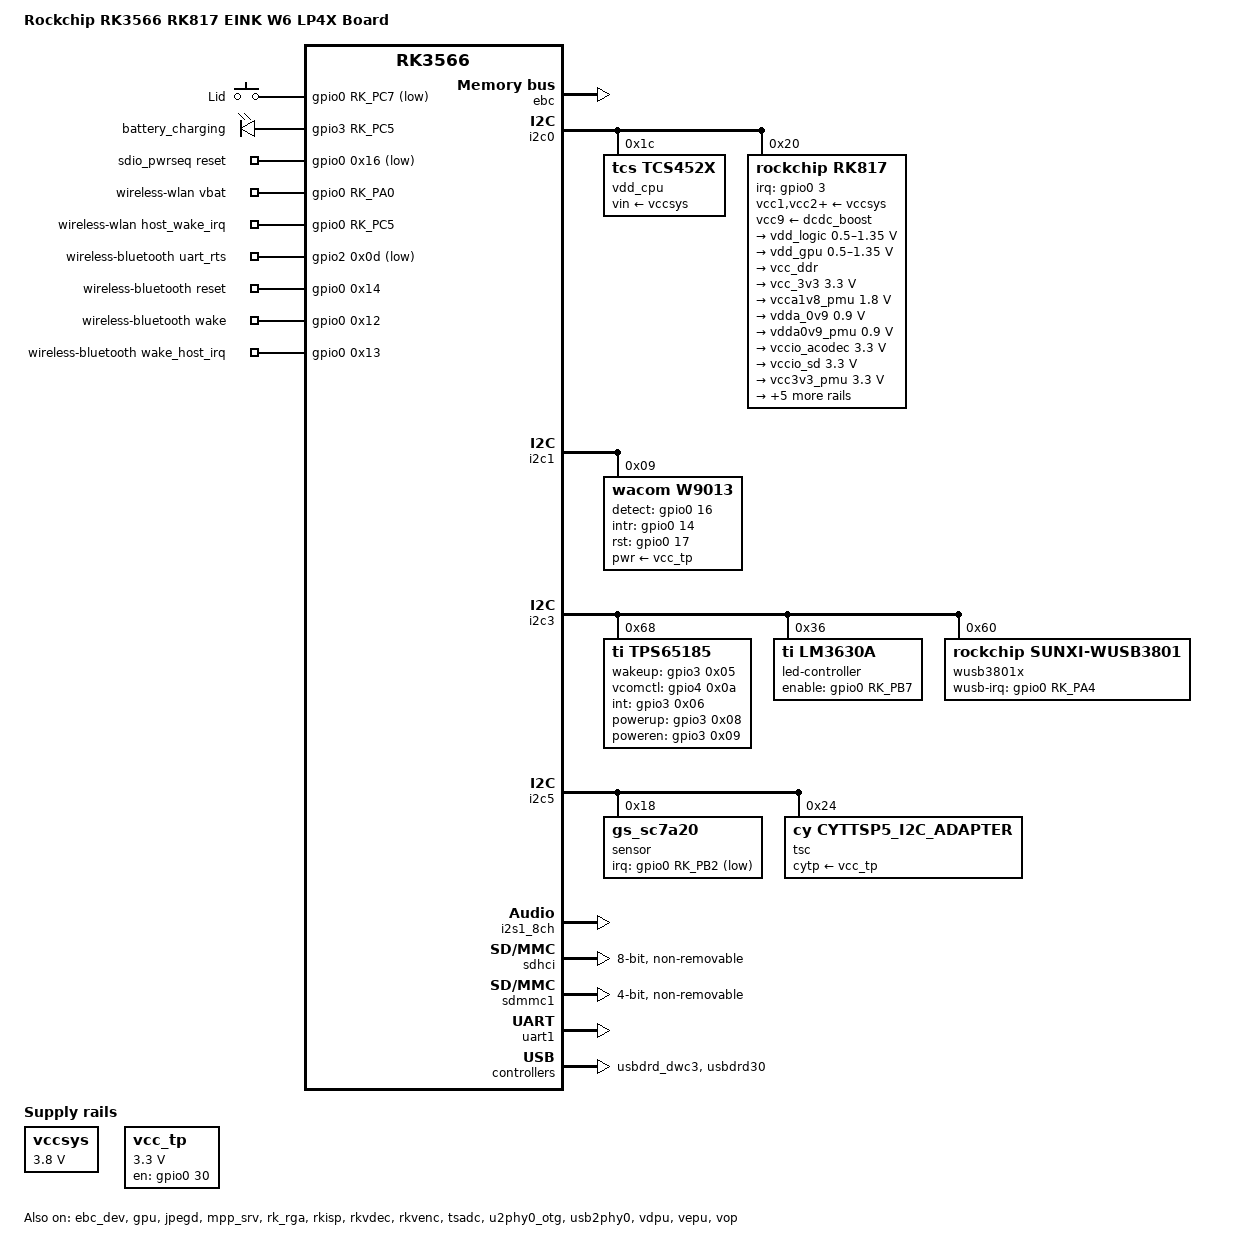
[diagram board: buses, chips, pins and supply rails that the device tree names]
// SPDX-License-Identifier: (GPL-2.0+ OR MIT)
/*
 * Copyright (c) 2021 Rockchip Electronics Co., Ltd.
 *
 */

/dts-v1/;

#include <dt-bindings/gpio/gpio.h>
#include <dt-bindings/pinctrl/rockchip.h>
#include <dt-bindings/input/rk-input.h>
#include <dt-bindings/sensor-dev.h>
#include <dt-bindings/display/drm_mipi_dsi.h>
#include "rk3566.dtsi"
#include "rk3568-android.dtsi"
#include "rk3566-eink.dtsi"

/ {
	model = "Rockchip RK3566 RK817 EINK W6 LP4X Board";
	compatible = "rockchip,rk3566-rk817-eink-W6", "rockchip,rk3566";

	// chosen {
	// 	bootargs = "";
	// };
	charge-animation {
		compatible = "rockchip,uboot-charge";
		rockchip,uboot-charge-on = <1>;
		rockchip,android-charge-on = <0>;
		rockchip,uboot-low-power-voltage = <3350>;
		rockchip,screen-on-voltage = <3400>;
		rockchip,auto-wakeup-interval = <60>;
		status = "okay";
	};

	adc_keys: adc-keys {
		status = "disabled";
		compatible = "adc-keys";
		io-channels = <&saradc 0>;
		io-channel-names = "buttons";
		keyup-threshold-microvolt = <1800000>;
		poll-interval = <100>;

		vol-up-key {
			label = "volume up";
			linux,code = <KEY_VOLUMEUP>;
			press-threshold-microvolt = <1750>;
		};
	};


	gpio_keys: gpio-keys {
		status = "ok";
		compatible = "gpio-keys";

		// 	power {
		// 	label = "Power";
		// 	gpios = <&gpio0 RK_PC7 GPIO_ACTIVE_LOW>; /* 1Hall sensor */
		// 	linux,code = <116>; /* KEY_POWER */
		// 	gpio-key,wakeup;
		// };

		lid-switch {
			label = "Lid";
			gpios = <&gpio0 RK_PC7 GPIO_ACTIVE_LOW>; /* 1Hall sensor */
			linux,input-type = <5>; /* EV_SW */
			linux,code = <0>; /* SW_LID */
			debounce-interval = <1>;
			gpio-key,wakeup;
		};
	};

	leds: gpio-leds {
		compatible = "gpio-leds";
		pinctrl-names = "default";
		pinctrl-0 =<&leds_gpio>;

		led@1 {
			gpios = <&gpio3 RK_PC5 GPIO_ACTIVE_HIGH>;
			linux,default-trigger = "battery-charging";
			label = "battery_charging";
			retain-state-suspended;
		};
	};

	vccsys: vccsys {
		compatible = "regulator-fixed";
		regulator-name = "vcc3v8_sys";
		regulator-always-on;
		regulator-boot-on;
		regulator-min-microvolt = <3800000>;
		regulator-max-microvolt = <3800000>;
	};


	vcc_tp: vcc-tp-regulator {
		compatible = "regulator-fixed";
		enable-active-high;
		gpio = <&gpio0 30 GPIO_ACTIVE_HIGH>;
		pinctrl-names = "default";
		pinctrl-0 = <&vcc_tp_en>;
		regulator-name = "vcc_tp";
		regulator-min-microvolt = <3300000>;
		regulator-max-microvolt = <3300000>;
	};


	rk817-sound {
		compatible = "simple-audio-card";
		simple-audio-card,format = "i2s";
		simple-audio-card,name = "rockchip,rk817-codec";
		simple-audio-card,mclk-fs = <256>;

		simple-audio-card,cpu {
			sound-dai = <&i2s1_8ch>;
		};
		simple-audio-card,codec {
			sound-dai = <&rk817_codec>;
		};
	};

	sdio_pwrseq: sdio-pwrseq {
		compatible = "mmc-pwrseq-simple";
		clocks = <&rk817 1>;
		clock-names = "ext_clock";
		pinctrl-names = "default";
		pinctrl-0 = <&wifi_enable_h>;
		post-power-on-delay-ms = <200>;
		/*
		 * On the module itself this is one of these (depending
		 * on the actual card populated):
		 * - SDIO_RESET_L_WL_REG_ON
		 * - PDN (power down when low)
		 */
		reset-gpios = <&gpio0 0x16 1>;
	};

	wireless-wlan {
		compatible = "wlan-platdata";
		rockchip,grf = <&grf>;
		wifi_chip_type = "ap6255";
		pinctrl-names = "default";
		pinctrl-0 = <&wifi_vbat &wifi_host_wake_irq>;
		WIFI,vbat_gpio = <&gpio0 RK_PA0 0>;
		WIFI,host_wake_irq = <&gpio0 RK_PC5 0>;
		status = "okay";
	};

	wireless-bluetooth {
		compatible = "bluetooth-platdata";
		clocks = <&rk817 1>;
		clock-names = "ext_clock";
		wifi-bt-power-toggle;
		uart_rts_gpios = <&gpio2 0x0d 0x01>;
		pinctrl-names = "default", "rts_gpio";
		pinctrl-0 = <&uart1m0_rtsn>;
		pinctrl-1 = <&uart1_gpios>;
		BT,reset_gpio    = <&gpio0 0x14 0x00>;
		BT,wake_gpio     = <&gpio0 0x12 0x00>;
		BT,wake_host_irq = <&gpio0 0x13 0x00>;
		status = "okay";
	};
};

&ebc {
	/* clock rate 1000M/n, (n=1~32) */
	clocks = <&cru HCLK_EBC>, <&cru DCLK_EBC>;
	clock-names = "hclk", "dclk";
	power-domains = <&power RK3568_PD_RGA>;
	assigned-clocks = <&cru 0x09 &cru 0xfa>;
	assigned-clock-rates = <250000000 250000000>;
	status = "okay";
};

&ebc_dev {
	pmic = <&tps65185>;
	status = "okay";

	panel,width = <1872>;
	panel,height = <1404>;
	panel,vir_width = <1872>;
	panel,vir_height = <1404>;
	panel,sdck = <33300000>;
	panel,lsl = <11>;
	panel,lbl = <8>;
	panel,ldl = <234>;
	panel,lel = <23>;
	panel,gdck-sta = <10>;
	panel,lgonl = <215>;
	panel,fsl = <1>;
	panel,fbl = <4>;
	panel,fdl = <1404>;
	panel,fel = <12>;
	panel,mirror = <1>;
	panel,panel_16bit = <1>;
	panel,panel_color = <0>;
	panel,width-mm = <157>;
	panel,height-mm = <210>;
};

&cpu0 {
	cpu-supply = <&vdd_cpu>;
};

&gpu {
	mali-supply = <&vdd_gpu>;
	status = "okay";
};


&i2c0 {
	status = "okay";

	vdd_cpu: tcs4525@1c {
		compatible = "tcs,tcs452x";
		reg = <0x1c>;
		vin-supply = <&vccsys>;
		regulator-compatible = "fan53555-reg";
		regulator-name = "vdd_cpu";
		regulator-min-microvolt = <712500>;
		regulator-max-microvolt = <1390000>;
		regulator-ramp-delay = <2300>;
		fcs,suspend-voltage-selector = <0>;
		regulator-boot-on;
		regulator-always-on;
		regulator-initial-mode = <2>;
		regulator-state-mem {
			regulator-on-in-suspend;
			regulator-suspend-microvolt = <1100000>;
			regulator-changeable-in-suspend;
		};
	};

	rk817: pmic@20 {
		compatible = "rockchip,rk817";
		reg = <0x20>;
		interrupt-parent = <&gpio0>;
		interrupts = <3 IRQ_TYPE_LEVEL_LOW>;
		pinctrl-names = "default";
		pinctrl-0 = <&pmic_int>;
		rockchip,system-power-controller;
		wakeup-source;
		#clock-cells = <1>;
		clock-output-names = "rk808-clkout1", "rk808-clkout2";
		/* 1: rst regs (default in codes), 0: rst the pmic */
		pmic-reset-func = <0>;
		/* not save the PMIC_POWER_EN register in uboot */
		not-save-power-en = <1>;
		vcc1-supply = <&vccsys>;
		vcc2-supply = <&vccsys>;
		vcc3-supply = <&vccsys>;
		vcc4-supply = <&vccsys>;
		vcc5-supply = <&vccsys>;
		vcc6-supply = <&vccsys>;
		vcc7-supply = <&vccsys>;
		vcc8-supply = <&vccsys>;
		vcc9-supply = <&dcdc_boost>;

		pwrkey {
			status = "okay";
		};

		pinctrl_rk8xx: pinctrl_rk8xx {
			gpio-controller;
			#gpio-cells = <2>;

			rk817_slppin_null: rk817_slppin_null {
				pins = "gpio_slp";
				function = "pin_fun0";
			};

			rk817_slppin_slp: rk817_slppin_slp {
				pins = "gpio_slp";
				function = "pin_fun1";
			};

			rk817_slppin_pwrdn: rk817_slppin_pwrdn {
				pins = "gpio_slp";
				function = "pin_fun2";
			};

			rk817_slppin_rst: rk817_slppin_rst {
				pins = "gpio_slp";
				function = "pin_fun3";
			};
		};

		regulators {
			vdd_logic: DCDC_REG1 {
				regulator-always-on;
				regulator-boot-on;
				regulator-min-microvolt = <500000>;
				regulator-max-microvolt = <1350000>;
				regulator-init-microvolt = <900000>;
				regulator-ramp-delay = <6001>;
				regulator-initial-mode = <2>;
				regulator-name = "vdd_logic";
				regulator-state-mem {
					regulator-off-in-suspend;
					regulator-suspend-microvolt = <900000>;
					regulator-changeable-in-suspend;
				};
			};

			vdd_gpu: DCDC_REG2 {
				regulator-always-on;
				regulator-boot-on;
				regulator-min-microvolt = <500000>;
				regulator-max-microvolt = <1350000>;
				regulator-init-microvolt = <900000>;
				regulator-ramp-delay = <6001>;
				regulator-initial-mode = <2>;
				regulator-name = "vdd_gpu";
					regulator-state-mem {
					regulator-off-in-suspend;
					regulator-changeable-in-suspend;
				};
			};

			vcc_ddr: DCDC_REG3 {
				regulator-always-on;
				regulator-boot-on;
				regulator-initial-mode = <2>;
				regulator-name = "vcc_ddr";
				regulator-state-mem {
					regulator-on-in-suspend;
				};
			};

			vcc_3v3: DCDC_REG4 {
				regulator-always-on;
				regulator-boot-on;
				regulator-min-microvolt = <3300000>;
				regulator-max-microvolt = <3300000>;
				regulator-initial-mode = <2>;
				regulator-name = "vcc_3v3";
				regulator-state-mem {
					regulator-off-in-suspend;
					regulator-changeable-in-suspend;
				};
			};

			vcca1v8_pmu: LDO_REG1 {
				regulator-always-on;
				regulator-boot-on;
				regulator-min-microvolt = <1800000>;
				regulator-max-microvolt = <1800000>;
				regulator-name = "vcca1v8_pmu";
				regulator-state-mem {
					regulator-on-in-suspend;
					regulator-suspend-microvolt = <1800000>;
					regulator-changeable-in-suspend;
				};
			};

			vdda_0v9: LDO_REG2 {
				regulator-always-on;
				regulator-boot-on;
				regulator-min-microvolt = <900000>;
				regulator-max-microvolt = <900000>;
				regulator-name = "vdda_0v9";
				regulator-state-mem {
					regulator-off-in-suspend;
					regulator-changeable-in-suspend;
				};
			};

			vdda0v9_pmu: LDO_REG3 {
				regulator-always-on;
				regulator-boot-on;
				regulator-min-microvolt = <900000>;
				regulator-max-microvolt = <900000>;
				regulator-name = "vdda0v9_pmu";
				regulator-state-mem {
					regulator-on-in-suspend;
					regulator-suspend-microvolt = <900000>;
					regulator-changeable-in-suspend;
				};
			};

			vccio_acodec: LDO_REG4 {
				regulator-always-on;
				regulator-boot-on;
				regulator-min-microvolt = <3300000>;
				regulator-max-microvolt = <3300000>;
				regulator-name = "vccio_acodec";
				regulator-state-mem {
					regulator-off-in-suspend;
					regulator-changeable-in-suspend;
				};
			};

			vccio_sd: LDO_REG5 {
				regulator-min-microvolt = <3300000>;//was 1.8v
				regulator-max-microvolt = <3300000>;
				regulator-name = "vccio_sd";
				regulator-state-mem {
					regulator-off-in-suspend;
					regulator-changeable-in-suspend;
				};
			};

			vcc3v3_pmu: LDO_REG6 {
				regulator-always-on;
				regulator-boot-on;
				regulator-min-microvolt = <3300000>;
				regulator-max-microvolt = <3300000>;
				regulator-name = "vcc3v3_pmu";
				regulator-state-mem {
					regulator-on-in-suspend;
					regulator-suspend-microvolt = <3000000>;
					regulator-changeable-in-suspend;
				};
			};

			vcc_1v8: LDO_REG7 {
				regulator-always-on;
				regulator-boot-on;
				regulator-min-microvolt = <1800000>;
				regulator-max-microvolt = <1800000>;
				regulator-name = "vcc_1v8";
				regulator-state-mem {
					regulator-off-in-suspend;
					regulator-changeable-in-suspend;
				};
			};

			vcc1v8_dvp: LDO_REG8 {
				regulator-min-microvolt = <1800000>;
				regulator-max-microvolt = <1800000>;
				regulator-name = "vcc1v8_dvp";
				regulator-state-mem {
					regulator-off-in-suspend;
					regulator-changeable-in-suspend;
				};
			};

			sleep_sta_ctl: LDO_REG9 {
				regulator-name = "sleep_sta_ctl";
				regulator-state-mem {
					regulator-on-in-suspend;
					regulator-suspend-microvolt = <3300000>;
					regulator-changeable-in-suspend;
				};
			};

			dcdc_boost: BOOST {
				regulator-always-on;
				regulator-boot-on;
				regulator-min-microvolt = <4700000>;
				regulator-max-microvolt = <5400000>;
				regulator-name = "boost";
				regulator-state-mem {
					regulator-off-in-suspend;
					regulator-changeable-in-suspend;
				};
			};

			otg_switch: OTG_SWITCH {
				regulator-name = "otg_switch";
				regulator-state-mem {
					regulator-off-in-suspend;
					regulator-changeable-in-suspend;
				};
			};
		};

		battery {
			compatible = "rk817,battery";
			ocv_table = <3500 
				3670 
				3680 
				3710 3732 3750 3763 3770 3777 3789 3804
				 3826 3866 3897 3924 3954 3985 4023 4066 4109 4168>;
			design_capacity = <4000>;
			design_qmax = <4400>;
			bat_res = <96>;
			sleep_enter_current = <150>;
			sleep_exit_current = <180>;
			sleep_filter_current = <100>;
			power_off_thresd = <3450>;
			zero_algorithm_vol = <3850>;
			max_soc_offset = <60>;
			monitor_sec = <5>;
			sample_res = <10>;
			virtual_power = <0>;
			low_power_sleep = <1>;
		};

		charger {
			compatible = "rk817,charger";
			min_input_voltage = <4500>;
			max_input_current = <1500>;
			max_chrg_current = <2000>;
			max_chrg_voltage = <4170>;
			chrg_term_mode = <0>;
			chrg_finish_cur = <300>;
			virtual_power = <0>;
			dc_det_adc = <0>;
			extcon = <&usb2phy0>;
			gate_function_disable = <1>;
		};

		rk817_codec: codec {
			#sound-dai-cells = <0>;
			compatible = "rockchip,rk817-codec";
			clocks = <&cru I2S1_MCLKOUT_TX>;
			clock-names = "mclk";
			assigned-clocks = <&cru I2S1_MCLKOUT_TX>;
			assigned-clock-parents = <&cru CLK_I2S1_8CH_TX>;
			pinctrl-names = "default";
			pinctrl-0 = <&i2s1m0_mclk>;
			hp-volume = <20>;
			spk-volume = <3>;
			out-l2spk-r2hp;
			spk-ctl-gpios = <&gpio3 RK_PC4 GPIO_ACTIVE_HIGH>;
			status = "okay";
		};
	};
};

&i2c1 {
	status = "okay";

	
	wacom@9 {
		compatible = "wacom,w9013";
		reg = <0x09>;
		pwr-supply = <&vcc_tp>;
		pinctrl-names = "default";
		pinctrl-0 = <&wacom_gpio>;
		gpio_detect = <&gpio0 16 0x00>;
		gpio_intr = <&gpio0 14 0x00>;
		gpio_rst = <&gpio0 17 0x00>;
		revert_x = <1>;
		revert_y = <1>;
		xy_exchange = <0>;
	};
};

&i2c3 {
	status = "okay";
	pinctrl-names = "default";
	pinctrl-0 = <&i2c3m1_xfer>;

		tps65185:tps65185@68 {
			status = "okay";
			compatible = "ti,tps65185";
			reg = <0x68>;
			pinctrl-names = "default";
			pinctrl-0 =		 <&tps65185_gpio>;
			wakeup-gpios =		 <&gpio3 0x05 0x00>;
			vcomctl-gpios =		 <&gpio4 0x0a 0x00>;
			int-gpios =		 <&gpio3 0x06 0x00>;
			powerup-gpios =		 <&gpio3 0x08 0x00>;
			poweren-gpios =		 <&gpio3 0x09 0x00>;
		};

		led-controller@36 {
			compatible = "ti,lm3630a";
			reg = <0x36>;			
			enable-gpios = <&gpio0 RK_PB7 GPIO_ACTIVE_HIGH>;

			#address-cells = <1>;
			#size-cells = <0>;

			led@0 {
				reg = <0>;
				led-sources = <0>;
				label = "backlight_cold";
				ti,linear-mapping-mode = <1>;
				default-brightness = <0>;
				max-brightness = <255>;

			};
			led_warm:pwm@1 {
				reg = <1>;
				led-sources = <1>;
				label = "backlight";
				ti,linear-mapping-mode = <1>;

				default-brightness = <64>;
				max-brightness = <255>;
			};
		};

		wusb3801x@60 {
			compatible = "rockchip,sunxi-wusb3801";
			reg = <0x60>;
			pinctrl-names = "default";
			pinctrl-0 = <&wusb3801x_gpio>;
			wusb-irq-gpio = <&gpio0 RK_PA4 0x00>;
			init-mode = <36>;
			host-current = <1>;
			drp-toggle-time = <40>;
		};

};

&i2c5 {
	status = "okay";

	
		sensor@18 {
			status = "okay";
			compatible = "gs_sc7a20";
			reg = <0x18>;
			irq-gpio = <&gpio0 RK_PB2 0x03>;
			type = <2>;
			irq_enable = <0>;
			poll_delay_ms = <30>;
			layout = <3>;
			reprobe_en = <1>;
		};

		tsc@24 {
			status = "okay";
			compatible = "cy,cyttsp5_i2c_adapter";
			reg = <0x24>;
			cy,adapter_id = "cyttsp5_i2c_adapter";
			pinctrl-names = "default";
			pinctrl-0 = <&tsc_gpio>;
			cytp-supply = <&vcc_tp>;

			cy,core {
				cy,name = "cyttsp5_core";
				cy,irq_gpio = <&gpio0 RK_PA6 0x00>;
				cy,rst_gpio = <&gpio0 RK_PA5 0x00>;
				cy,hid_desc_register = <1>;
			/* CY_CORE_FLAG_RESTORE_PARAMETERS */
			cy,flags = <6>;
			/* CY_CORE_EWG_NONE */
			cy,easy_wakeup_gesture = <0>;
			cy,btn_keys = <172 /* KEY_HOMEPAGE */
						/* previously was KEY_HOME, new Android versions use KEY_HOMEPAGE */
						139 /* KEY_MENU */
						158 /* KEY_BACK */
						217 /* KEY_SEARCH */
						114 /* KEY_VOLUMEDOWN */
						115 /* KEY_VOLUMEUP */
						212 /* KEY_CAMERA */
						116>; /* KEY_POWER */
			cy,btn_keys-tag = <0>;
			cy,mt {
				cy,name = "cyttsp5_mt";
				cy,inp_dev_name = "cyttsp5_mt";
				cy,flags = <0>;
				cy,abs =
					/* ABS_MT_POSITION_X, CY_ABS_MIN_X, CY_ABS_MAX_X, 0, 0 */
					<0x35 0 1872 0 0
					/* ABS_MT_POSITION_Y, CY_ABS_MIN_Y, CY_ABS_MAX_Y, 0, 0 */
					0x36 0 1404 0 0
					/* ABS_MT_PRESSURE, CY_ABS_MIN_P, CY_ABS_MAX_P, 0, 0 */
					0x3a 0 255 0 0
					/* CY_IGNORE_VALUE, CY_ABS_MIN_W, CY_ABS_MAX_W, 0, 0 */
					0xffff 0 255 0 0
					/* ABS_MT_TRACKING_ID, CY_ABS_MIN_T, CY_ABS_MAX_T, 0, 0 */
					0x39 0 15 0 0
					/* ABS_MT_TOUCH_MAJOR, 0, 255, 0, 0 */
					0x30 0 255 0 0
					/* ABS_MT_TOUCH_MINOR, 0, 255, 0, 0 */
					0x31 0 255 0 0
					/* ABS_MT_ORIENTATION, -127, 127, 0, 0 */
					0x34 0xffffff81 127 0 0
					/* ABS_MT_TOOL_TYPE, 0, MT_TOOL_MAX, 0, 0 */
					0x37 0 1 0 0
					/* ABS_DISTANCE, 0, 255, 0, 0 */
					0x19 0 255 0 0>;

					cy,vkeys_x = <1872>;
					cy,vkeys_y = <1404>;

					cy,revert_x = <0>;
					cy,revert_y = <0>;
					cy,xy_exchange = <0>;

					cy,virtual_keys = /* KeyCode CenterX CenterY Width Height */
						/* KEY_BACK */
						<158 1360 90 160 180
						/* KEY_MENU */
						139 1360 270 160 180
						/* KEY_HOMEPAGE */
						172 1360 450 160 180
						/* KEY SEARCH */
						217 1360 630 160 180>;
			};

				cy,btn {
					cy,name = "cyttsp5_btn";
					cy,inp_dev_name = "cyttsp5_btn";
				};

				cy,proximity {
					cy,name = "cyttsp5_proximity";
					cy,inp_dev_name = "cyttsp5_proximity";
					cy,abs = <0x19 0x00 0x01 0x00 0x00>;
				};
			};
		};

};

&i2s0_8ch {
	status = "disabled";
};

&i2s1_8ch {
	status = "okay";
	rockchip,clk-trcm = <1>;
	pinctrl-names = "default";
	pinctrl-0 = <&i2s1m0_sclktx
		     &i2s1m0_lrcktx
		     &i2s1m0_sdi0
		     &i2s1m0_sdo0>;
};

&i2s2_2ch {
	status = "disabled";
};
&jpegd {
	status = "okay";
};

&jpegd_mmu {
	status = "okay";
};

&video_phy0 {
	status = "disabled";
};

&mpp_srv {
	status = "okay";
};

&nandc0 {
	status = "disabled";
};

&pinctrl {
	leds {
		leds_gpio: leds-gpio {
			rockchip,pins =
				<3 21 RK_FUNC_GPIO &pcfg_pull_none>;
		};
	};
	
	

	tps_pmic {
		tps65185_gpio: tps65185-gpio {
			rockchip,pins = <
			    RK_GPIO3 RK_PA4 RK_FUNC_GPIO &pcfg_pull_up
				RK_GPIO3 RK_PA5 RK_FUNC_GPIO &pcfg_pull_up
				RK_GPIO3 RK_PA6 RK_FUNC_GPIO &pcfg_pull_up 
				RK_GPIO3 RK_PB0 RK_FUNC_GPIO &pcfg_pull_up
				RK_GPIO3 RK_PB1 RK_FUNC_GPIO &pcfg_pull_up>;
		};
	};
	

	pmic {
		pmic_int: pmic_int {
			rockchip,pins =
				<RK_GPIO0 RK_PA3 RK_FUNC_GPIO &pcfg_pull_up>;
		};

		soc_slppin_gpio: soc_slppin_gpio {
			rockchip,pins =
				<RK_GPIO0 RK_PA2 RK_FUNC_GPIO &pcfg_output_low>;
		};

		soc_slppin_slp: soc_slppin_slp {
			rockchip,pins =
				<RK_GPIO0 RK_PA2 RK_FUNC_1 &pcfg_pull_none>;
		};

		soc_slppin_rst: soc_slppin_rst {
			rockchip,pins =
				<RK_GPIO0 RK_PA2 RK_FUNC_2 &pcfg_pull_none>;
		};
	};

	sdio-pwrseq {
		wifi_enable_h: wifi-enable-h {
			rockchip,pins = <RK_GPIO0 RK_PC6 RK_FUNC_GPIO &pcfg_pull_none>;
		};
	};

	vcc-tp {
		vcc_tp_en: vcc-tp-en {
			rockchip,pins = <RK_GPIO0 RK_PD6 RK_FUNC_GPIO &pcfg_pull_none>;
		};
	};

	wireless-wlan {
		wifi_vbat: wifi-vbat {
			rockchip,pins = <RK_GPIO0 RK_PA0 RK_FUNC_GPIO &pcfg_pull_none>;
		};

		wifi_host_wake_irq: wifi-host-wake-irq {
			rockchip,pins = <RK_GPIO0 RK_PC5 RK_FUNC_GPIO &pcfg_pull_up>;
		};
	};

	wireless-bluetooth {
		uart1_gpios: uart1-gpios {
			rockchip,pins = <RK_GPIO2 RK_PB5 RK_FUNC_GPIO &pcfg_pull_none>;
		};

		bt_reset_gpio:bt-reset-gpio {
			rockchip,pins = <RK_GPIO0 0x14 0x00 &pcfg_pull_none>;
		};

		bt_wake_gpio:bt-wake-gpio {
			rockchip,pins = <RK_GPIO0 0x12 0x00 &pcfg_pull_none>;
		};

		bt_irq_gpio:bt-irq-gpio {
			rockchip,pins = <RK_GPIO0 0x13 0x00 &pcfg_pull_up>;
		};
	};


		wacom {

			wacom_gpio:wacom-gpio {
				rockchip,pins = <
				RK_GPIO0 0x10 0x00 &pcfg_pull_up
				RK_GPIO0 0x11 0x00 &pcfg_pull_up
				RK_GPIO0 0x0e 0x00 &pcfg_pull_up>;
			};
		};
		tsc {
			tsc_gpio:tsc-gpio {
				rockchip,pins = <
				RK_GPIO0 0x0d 0x00 &pcfg_pull_down
				RK_GPIO0 0x05 0x00 &pcfg_pull_up
				RK_GPIO0 0x06 0x00 &pcfg_pull_up>;
			};
		};
		wusb3801x {
			wusb3801x_gpio:wusb3801x-gpio {
				rockchip,pins = <RK_GPIO0 RK_PA4 0x00 &pcfg_pull_up>;
			};
		};
};

&pmu_io_domains {
	status = "okay";
	pmuio1-supply = <&vcc3v3_pmu>;
	pmuio2-supply = <&vcc3v3_pmu>;
	vccio1-supply = <&vccio_acodec>;
	vccio2-supply = <&vcc_1v8>;
	vccio3-supply = <&vcc_3v3>;
	vccio4-supply = <&vcc_1v8>;
	vccio5-supply = <&vcc_3v3>;
	vccio6-supply = <&vcc_3v3>;
	vccio7-supply = <&vcc_1v8>;
};

&pwm4 {
	status = "disabled";
};

&rk_rga {
	status = "okay";
};

&rkisp {
	status = "okay";
};

&rkisp_mmu {
	status = "okay";
};

&rkisp_vir0 {
	status = "disabled";
};

&rkvdec {
	status = "okay";
};

&rkvdec_mmu {
	status = "okay";
};

&rkvenc {
	status = "okay";
};

&rkvenc_mmu {
	status = "okay";
};

&rockchip_suspend {
	status = "okay";

	rockchip,regulator-off-in-mem-lite =
		<&vdd_cpu>, <&vdd_logic>, <&vdd_gpu>, <&vcc_3v3>, <&vdda_0v9>, <&vcc_1v8>,
		<&vccio_acodec>, <&vccio_sd>, <&vcc1v8_dvp>, <&dcdc_boost>, <&otg_switch>;
	rockchip,regulator-on-in-mem-lite =
		<&vcc_ddr>, <&vdda0v9_pmu>, <&vcca1v8_pmu>, <&vcc3v3_pmu>, <&sleep_sta_ctl>;

	rockchip,regulator-off-in-mem =
		<&vdd_cpu>, <&vdd_logic>, <&vdd_gpu>, <&vcc_3v3>, <&vdda_0v9>, <&vcc_1v8>,
		<&vccio_acodec>, <&vccio_sd>, <&vcc1v8_dvp>, <&dcdc_boost>, <&otg_switch>;
	rockchip,regulator-on-in-mem =
		<&vcc_ddr>, <&vdda0v9_pmu>, <&vcca1v8_pmu>, <&vcc3v3_pmu>, <&sleep_sta_ctl>;

	rockchip,regulator-off-in-mem-ultra =
		<&vdd_logic>, <&vdd_gpu>, <&vcc_ddr>, <&vcc_3v3>, <&vdda_0v9>, <&vcc_1v8>,
		<&vdda0v9_pmu>, <&vcca1v8_pmu>, <&vcc3v3_pmu>, <&vccio_acodec>, <&vccio_sd>,
		<&vcc1v8_dvp>, <&dcdc_boost>, <&otg_switch>;
	rockchip,regulator-on-in-mem-ultra = <&vdd_cpu>, <&sleep_sta_ctl>;
};

&saradc {
	status = "disabled";
	vref-supply = <&vcc_1v8>;
};

&sdhci {
	bus-width = <8>;
	supports-emmc;
	non-removable;
	keep-power-in-suspend;
	rockchip,txclk-tapnum = <0x8>;
	max-frequency = <200000000>;
	status = "okay";
};

&sdmmc0 {
	//Nothing on this bus
	status = "disabled";
};

&sdmmc1 {
	max-frequency = <150000000>;
	supports-sdio;
	bus-width = <4>;
	disable-wp;
	cap-sd-highspeed;
	cap-sdio-irq;
	keep-power-in-suspend;
	mmc-pwrseq = <&sdio_pwrseq>;
	non-removable;
	pinctrl-names = "default";
	pinctrl-0 = <&sdmmc1_bus4 &sdmmc1_cmd &sdmmc1_clk>;
	sd-uhs-sdr104;
	rockchip,default-sample-phase = <0x5a>;

	status = "okay";
};

&tsadc {
	status = "okay";
};

&uart1 {
	status = "okay";
	pinctrl-names = "default";
	pinctrl-0 = <&uart1m0_xfer &uart1m0_ctsn>;
};

&u2phy0_otg {
	status = "okay";
};

&usb2phy0 {
	status = "okay";
};

&usbdrd_dwc3 {
	status = "okay";
};

&usbdrd30 {
	status = "okay";
};

&vdpu {
	status = "okay";
};

&vdpu_mmu {
	status = "okay";
};

&vepu {
	status = "okay";
};

&vepu_mmu {
	status = "okay";
};

&vop {
	status = "okay";
};

&vop_mmu {
	status = "okay";
};
